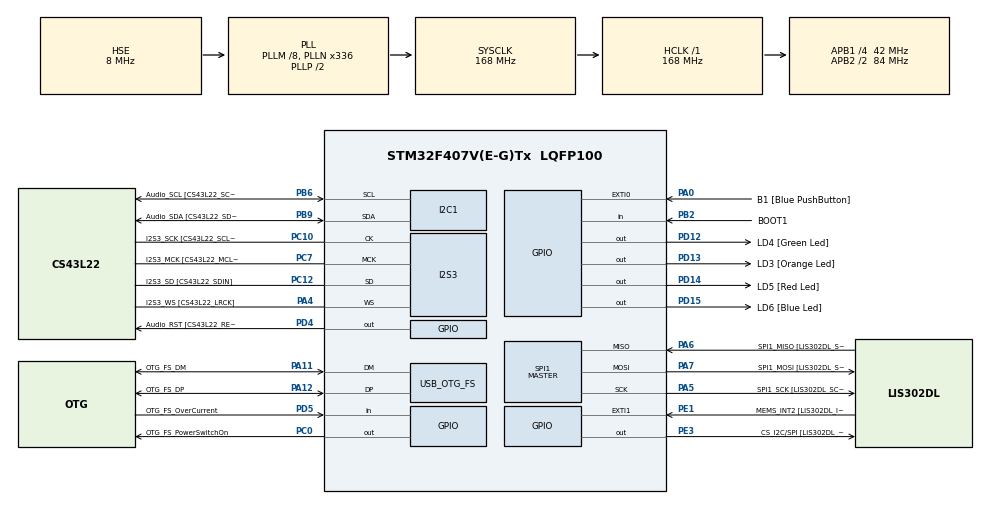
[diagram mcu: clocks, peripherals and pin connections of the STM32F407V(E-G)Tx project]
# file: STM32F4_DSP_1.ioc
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Dma.Request0=SPI3_TX
Dma.SPI3_TX.0.Direction=DMA_MEMORY_TO_PERIPH
Dma.SPI3_TX.0.FIFOMode=DMA_FIFOMODE_DISABLE
Dma.SPI3_TX.0.Instance=DMA1_Stream5
Dma.SPI3_TX.0.MemDataAlignment=DMA_MDATAALIGN_HALFWORD
Dma.SPI3_TX.0.MemInc=DMA_MINC_ENABLE
Dma.SPI3_TX.0.Mode=DMA_NORMAL
Dma.SPI3_TX.0.PeriphDataAlignment=DMA_PDATAALIGN_HALFWORD
Dma.SPI3_TX.0.PeriphInc=DMA_PINC_DISABLE
Dma.SPI3_TX.0.Priority=DMA_PRIORITY_HIGH
I2S3.AudioFreq-Half_Duplex_Master=I2S_AUDIOFREQ_96K
I2S3.ErrorAudioFreq=-2.34 %
I2S3.ErrorAudioFreq-Half_Duplex_Master=0.8 %
I2S3.FullDuplexMode=I2S_FULLDUPLEXMODE_DISABLE
I2S3.Instance=SPI$Index
I2S3.RealAudioFreq=93.75 KHz
I2S3.RealAudioFreq-Half_Duplex_Master=96.774 KHz
I2S3.VirtualMode=I2S_MODE_MASTER
Mcu.Family=STM32F4
Mcu.Name=STM32F407V(E-G)Tx
Mcu.Package=LQFP100
NVIC.DMA1_Stream5_IRQn=true\:0\:0\:false\:false\:true\:false\:true\:true
NVIC.OTG_FS_IRQn=true\:0\:0\:false\:false\:true\:true\:true\:true
NVIC.PriorityGroup=NVIC_PRIORITYGROUP_0
PA0-WKUP.GPIO_Label=B1 [Blue PushButton]
PA0-WKUP.GPIO_ModeDefaultEXTI=GPIO_MODE_EVT_RISING
PA0-WKUP.GPIO_PuPd=GPIO_NOPULL
PA0-WKUP.Signal=GPXTI0
PA10.GPIO_Label=OTG_FS_ID
PA10.GPIO_Mode=GPIO_MODE_AF_PP
PA10.GPIO_PuPd=GPIO_NOPULL
PA10.GPIO_Speed=GPIO_SPEED_FREQ_LOW
PA10.Signal=USB_OTG_FS_ID
PA11.GPIO_Label=OTG_FS_DM
PA11.GPIO_Mode=GPIO_MODE_AF_PP
PA11.GPIO_PuPd=GPIO_NOPULL
PA11.GPIO_Speed=GPIO_SPEED_FREQ_LOW
PA11.Mode=Device_Only
PA11.Signal=USB_OTG_FS_DM
PA12.GPIO_Label=OTG_FS_DP
PA12.GPIO_Mode=GPIO_MODE_AF_PP
PA12.GPIO_PuPd=GPIO_NOPULL
PA12.GPIO_Speed=GPIO_SPEED_FREQ_LOW
PA12.Mode=Device_Only
PA12.Signal=USB_OTG_FS_DP
PA13.GPIO_Label=SWDIO
PA13.Mode=Serial_Wire
PA13.Signal=SYS_JTMS-SWDIO
PA14.GPIO_Label=SWCLK
PA14.Mode=Serial_Wire
PA14.Signal=SYS_JTCK-SWCLK
PA4.GPIO_Label=I2S3_WS [CS43L22_LRCK]
PA4.GPIO_Mode=GPIO_MODE_AF_PP
PA4.GPIO_PuPd=GPIO_NOPULL
PA4.GPIO_Speed=GPIO_SPEED_FREQ_LOW
PA4.Mode=Half_Duplex_Master
PA4.Signal=I2S3_WS
PA5.GPIO_Label=SPI1_SCK [LIS302DL_SCL/SPC]
PA5.GPIO_Mode=GPIO_MODE_AF_PP
PA5.GPIO_PuPd=GPIO_NOPULL
PA5.GPIO_Speed=GPIO_SPEED_FREQ_LOW
PA5.Mode=Full_Duplex_Master
PA5.Signal=SPI1_SCK
PA6.GPIO_Label=SPI1_MISO [LIS302DL_SDO]
PA6.GPIO_Mode=GPIO_MODE_AF_PP
PA6.GPIO_PuPd=GPIO_NOPULL
PA6.GPIO_Speed=GPIO_SPEED_FREQ_LOW
PA6.Mode=Full_Duplex_Master
PA6.Signal=SPI1_MISO
PA7.GPIO_Label=SPI1_MOSI [LIS302DL_SDA/SDI/SDO]
PA7.GPIO_Mode=GPIO_MODE_AF_PP
PA7.GPIO_PuPd=GPIO_NOPULL
PA7.GPIO_Speed=GPIO_SPEED_FREQ_LOW
PA7.Mode=Full_Duplex_Master
PA7.Signal=SPI1_MOSI
PA9.GPIO_Label=VBUS_FS
PA9.GPIO_Mode=GPIO_MODE_INPUT
PA9.GPIO_PuPd=GPIO_NOPULL
PA9.Signal=USB_OTG_FS_VBUS
PB10.GPIO_Label=CLK_IN [MP45DT02_CLK]
PB10.GPIO_Mode=GPIO_MODE_AF_PP
PB10.GPIO_PuPd=GPIO_NOPULL
PB10.GPIO_Speed=GPIO_SPEED_FREQ_LOW
PB10.Signal=I2S2_CK
PB2.GPIO_Label=BOOT1
PB2.GPIO_Mode=GPIO_MODE_INPUT
PB2.GPIO_PuPd=GPIO_NOPULL
PB2.Signal=GPIO_Input
PB3.GPIO_Label=SWO
PB3.Signal=SYS_JTDO-SWO
PB6.GPIO_Label=Audio_SCL [CS43L22_SCL]
PB6.GPIO_Mode=GPIO_MODE_AF_OD
PB6.GPIO_Pu=GPIO_PULLUP
PB6.GPIO_PuPd=GPIO_NOPULL
PB6.GPIO_Speed=GPIO_SPEED_FREQ_LOW
PB6.Mode=I2C
PB6.Signal=I2C1_SCL
PB9.GPIO_Label=Audio_SDA [CS43L22_SDA]
PB9.GPIO_Mode=GPIO_MODE_AF_OD
PB9.GPIO_Pu=GPIO_PULLUP
PB9.GPIO_PuPd=GPIO_NOPULL
PB9.GPIO_Speed=GPIO_SPEED_FREQ_LOW
PB9.Mode=I2C
PB9.Signal=I2C1_SDA
PC0.GPIO_Label=OTG_FS_PowerSwitchOn
PC0.GPIO_PuPd=GPIO_NOPULL
PC0.GPIO_Speed=GPIO_SPEED_FREQ_LOW
PC0.PinState=GPIO_PIN_SET
PC0.Signal=GPIO_Output
PC10.GPIO_Label=I2S3_SCK [CS43L22_SCLK]
PC10.GPIO_Mode=GPIO_MODE_AF_PP
PC10.GPIO_PuPd=GPIO_NOPULL
PC10.GPIO_Speed=GPIO_SPEED_FREQ_LOW
PC10.Mode=Half_Duplex_Master
PC10.Signal=I2S3_CK
PC12.GPIO_Label=I2S3_SD [CS43L22_SDIN]
PC12.GPIO_Mode=GPIO_MODE_AF_PP
PC12.GPIO_PuPd=GPIO_NOPULL
PC12.GPIO_Speed=GPIO_SPEED_FREQ_LOW
PC12.Mode=Half_Duplex_Master
PC12.Signal=I2S3_SD
PC14-OSC32_IN.GPIO_Label=PC14-OSC32_IN
PC14-OSC32_IN.Mode=LSE-External-Oscillator
PC14-OSC32_IN.Signal=RCC_OSC32_IN
PC15-OSC32_OUT.GPIO_Label=PC15-OSC32_OUT
PC15-OSC32_OUT.Mode=LSE-External-Oscillator
PC15-OSC32_OUT.Signal=RCC_OSC32_OUT
PC3.GPIO_Label=PDM_OUT [MP45DT02_DOUT]
PC3.GPIO_Mode=GPIO_MODE_AF_PP
PC3.GPIO_PuPd=GPIO_NOPULL
PC3.GPIO_Speed=GPIO_SPEED_FREQ_LOW
PC3.Signal=I2S2_SD
PC7.GPIO_Label=I2S3_MCK [CS43L22_MCLK]
PC7.GPIO_Mode=GPIO_MODE_AF_PP
PC7.GPIO_PuPd=GPIO_NOPULL
PC7.GPIO_Speed=GPIO_SPEED_FREQ_LOW
PC7.Mode=Master_Clock_Activated
PC7.Signal=I2S3_MCK
PD12.GPIO_Label=LD4 [Green Led]
PD12.GPIO_PuPd=GPIO_NOPULL
PD12.GPIO_Speed=GPIO_SPEED_FREQ_LOW
PD12.Signal=GPIO_Output
PD13.GPIO_Label=LD3 [Orange Led]
PD13.GPIO_PuPd=GPIO_NOPULL
PD13.GPIO_Speed=GPIO_SPEED_FREQ_LOW
PD13.Signal=GPIO_Output
PD14.GPIO_Label=LD5 [Red Led]
PD14.GPIO_PuPd=GPIO_NOPULL
PD14.GPIO_Speed=GPIO_SPEED_FREQ_LOW
PD14.Signal=GPIO_Output
PD15.GPIO_Label=LD6 [Blue Led]
PD15.GPIO_PuPd=GPIO_NOPULL
PD15.GPIO_Speed=GPIO_SPEED_FREQ_LOW
PD15.Signal=GPIO_Output
PD4.GPIO_Label=Audio_RST [CS43L22_RESET]
PD4.GPIO_PuPd=GPIO_NOPULL
PD4.GPIO_Speed=GPIO_SPEED_FREQ_LOW
PD4.Signal=GPIO_Output
PD5.GPIO_Label=OTG_FS_OverCurrent
PD5.GPIO_Mode=GPIO_MODE_INPUT
PD5.GPIO_PuPd=GPIO_NOPULL
PD5.Signal=GPIO_Input
PE1.GPIO_Label=MEMS_INT2 [LIS302DL_INT2]
PE1.GPIO_ModeDefaultEXTI=GPIO_MODE_EVT_RISING
PE1.GPIO_PuPd=GPIO_NOPULL
PE1.Signal=GPXTI1
PE3.GPIO_Label=CS_I2C/SPI [LIS302DL_CS_I2C/SPI]
PE3.GPIO_PuPd=GPIO_NOPULL
PE3.GPIO_Speed=GPIO_SPEED_FREQ_LOW
PE3.Signal=GPIO_Output
PH0-OSC_IN.GPIO_Label=PH0-OSC_IN
PH0-OSC_IN.Mode=HSE-External-Oscillator
PH0-OSC_IN.Signal=RCC_OSC_IN
PH1-OSC_OUT.GPIO_Label=PH1-OSC_OUT
PH1-OSC_OUT.Mode=HSE-External-Oscillator
PH1-OSC_OUT.Signal=RCC_OSC_OUT
ProjectManager.HeapSize=0x200
ProjectManager.StackSize=0x400
ProjectManager.TargetToolchain=STM32CubeIDE
RCC.48MHZClocksFreq_Value=48000000
RCC.AHBFreq_Value=168000000
RCC.APB1CLKDivider=RCC_HCLK_DIV4
RCC.APB1Freq_Value=42000000
RCC.APB1TimFreq_Value=84000000
RCC.APB2CLKDivider=RCC_HCLK_DIV2
RCC.APB2Freq_Value=84000000
RCC.APB2TimFreq_Value=168000000
RCC.CortexFreq_Value=168000000
RCC.HCLKFreq_Value=168000000
RCC.HSE_VALUE=8000000
RCC.HSI_VALUE=16000000
RCC.PLLM=8
RCC.PLLN=336
RCC.PLLQ=7
RCC.PLLSourceVirtual=RCC_PLLSOURCE_HSE
RCC.SYSCLKFreq_VALUE=168000000
RCC.SYSCLKSource=RCC_SYSCLKSOURCE_PLLCLK
RCC.VCOOutputFreq_Value=336000000
SPI1.BaudRatePrescaler-Full_Duplex_Master=SPI_BAUDRATEPRESCALER_2
SPI1.CalculateBaudRate-Full_Duplex_Master=42.0 MBits/s
SPI1.Direction=SPI_DIRECTION_2LINES
SPI1.Mode=SPI_MODE_MASTER
SPI1.Mode-Full_Duplex_Master=SPI_MODE_MASTER
SPI1.VirtualType=VM_MASTER
USB_DEVICE.CLASS_NAME_FS=CDC
USB_DEVICE.VirtualMode-CDC_FS=Cdc
USB_DEVICE.VirtualModeFS=Cdc_FS
USB_OTG_FS.VirtualMode=Device_Only
VP_USB_DEVICE_VS_USB_DEVICE_CDC_FS.Mode=CDC_FS
board=STM32F407G-DISC1

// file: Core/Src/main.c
/* USER CODE BEGIN Header */
/**
  ******************************************************************************
  * @file           : main.c
  * @brief          : Main program body
  ******************************************************************************
  * @attention
  *
  * Copyright (c) 2023 STMicroelectronics.
  * All rights reserved.
  *
  * This software is licensed under terms that can be found in the LICENSE file
  * in the root directory of this software component.
  * If no LICENSE file comes with this software, it is provided AS-IS.
  *
  ******************************************************************************
  */
/* USER CODE END Header */
#include "main.h"
#include "usb_device.h"

/* USER CODE BEGIN Includes */
#include "stm32f4_discovery_audio.h"
#include "arm_math.h"

/* USER CODE END Includes */

/* USER CODE BEGIN PD */
#define FREQ 1000				//Sine signal frequency
#define SAMPLING_FREQ 8000		//BSP_audio_out sampling frequency

#define SAMPLES_QTY 8			//Signal buffer for one channel

/* USER CODE END PD */

I2C_HandleTypeDef hi2c1;

I2S_HandleTypeDef hi2s3;
DMA_HandleTypeDef hdma_spi3_tx;

SPI_HandleTypeDef hspi1;

/* USER CODE BEGIN PV */
static int16_t OutputBuffer[SAMPLES_QTY*2];			//Buffer to BSP_AUDIO_OUT, left+right channels
static int16_t Left_out_buffer[SAMPLES_QTY];
static int16_t Right_out_buffer[SAMPLES_QTY];

/* USER CODE END PV */

void SystemClock_Config(void);
static void MX_GPIO_Init(void);
static void MX_DMA_Init(void);
static void MX_I2C1_Init(void);
static void MX_I2S3_Init(void);
static void MX_SPI1_Init(void);

int main(void)
{

  /* MCU Configuration--------------------------------------------------------*/

  /* Reset of all peripherals, Initializes the Flash interface and the Systick. */
  HAL_Init();

  /* Configure the system clock */
  SystemClock_Config();

  /* Initialize all configured peripherals */
  MX_GPIO_Init();
  MX_DMA_Init();
  MX_I2C1_Init();
  MX_I2S3_Init();
  MX_SPI1_Init();
  MX_USB_DEVICE_Init();
  /* USER CODE BEGIN 2 */

  /*** Initialize the Audio codec and all related peripherals (I2S, I2C, IOExpander, IOs...) ***/
        if(BSP_AUDIO_OUT_Init(OUTPUT_DEVICE_AUTO, 80, SAMPLING_FREQ) != AUDIO_OK)
        {
        	Error_Handler();
        }

  /*** Test Signal generation ***/ // ORG
  /*
       for(int index = 0; index < SAMPLES_QTY; index++)
       {
       	  Left_out_buffer[index] = (int16_t)(30000*sin(2*PI*index/SAMPLES_QTY));
       	  Right_out_buffer[index] = (int16_t)(30000*sin(4*2*PI*index/SAMPLES_QTY));
       }

  */
/*-------------------------------------------------------------------------------------------------------------*/
/* TASK1 sine

             for(int index = 0; index < SAMPLES_QTY; index++)
             {
            	 double phase = 2*PI*FREQ*index/(2*SAMPLING_FREQ);

             	 // Left_out_buffer[index] = (int16_t)(30000*sin(phase));	//For faster testing main freq/2
            	 Right_out_buffer[index] = (int16_t)(30000*sin(2*phase));
             }

//TASK 1 DONE*/
/* =============================================================================================================*/
/*-------------------------------------------------------------------------------------------------------------*/
//TASK2 squere
  int16_t Square_Wave[SAMPLES_QTY];

  for (int index =0; index<SAMPLES_QTY/2; index++)
  {
	  Square_Wave[index]=20000;
	  Square_Wave[(index + (SAMPLES_QTY/2))] = -20000;
  }

/* =============================================================================================================*/
  /*** Fill Output Buffer ***/
       for(int i = 0; i < SAMPLES_QTY; i++)
       {
       	  OutputBuffer[i<<1] = Square_Wave[i];
       	  OutputBuffer[(i<<1)+1] = Square_Wave[i];
       }

  /*** Start Audio play ***/
       BSP_AUDIO_OUT_Play((uint16_t*)&OutputBuffer[0], SAMPLES_QTY*2);

  //Test - application is running
       HAL_GPIO_WritePin(LD4_GPIO_Port, LD4_Pin, GPIO_PIN_SET);

  /* USER CODE END 2 */

  /* Infinite loop */
  /* USER CODE BEGIN WHILE */
  while (1)
  {

	  HAL_GPIO_TogglePin(LD4_GPIO_Port, LD4_Pin);
	  HAL_Delay(500);

    /* USER CODE END WHILE */

  }
}

void SystemClock_Config(void)
{
  RCC_OscInitTypeDef RCC_OscInitStruct = {0};
  RCC_ClkInitTypeDef RCC_ClkInitStruct = {0};

  /** Configure the main internal regulator output voltage
  */
  __HAL_RCC_PWR_CLK_ENABLE();
  __HAL_PWR_VOLTAGESCALING_CONFIG(PWR_REGULATOR_VOLTAGE_SCALE1);

  /** Initializes the RCC Oscillators according to the specified parameters
  * in the RCC_OscInitTypeDef structure.
  */
  RCC_OscInitStruct.OscillatorType = RCC_OSCILLATORTYPE_HSE;
  RCC_OscInitStruct.HSEState = RCC_HSE_ON;
  RCC_OscInitStruct.PLL.PLLState = RCC_PLL_ON;
  RCC_OscInitStruct.PLL.PLLSource = RCC_PLLSOURCE_HSE;
  RCC_OscInitStruct.PLL.PLLM = 8;
  RCC_OscInitStruct.PLL.PLLN = 336;
  RCC_OscInitStruct.PLL.PLLP = RCC_PLLP_DIV2;
  RCC_OscInitStruct.PLL.PLLQ = 7;
  if (HAL_RCC_OscConfig(&RCC_OscInitStruct) != HAL_OK)
  {
    Error_Handler();
  }

  /** Initializes the CPU, AHB and APB buses clocks
  */
  RCC_ClkInitStruct.ClockType = RCC_CLOCKTYPE_HCLK|RCC_CLOCKTYPE_SYSCLK
                              |RCC_CLOCKTYPE_PCLK1|RCC_CLOCKTYPE_PCLK2;
  RCC_ClkInitStruct.SYSCLKSource = RCC_SYSCLKSOURCE_PLLCLK;
  RCC_ClkInitStruct.AHBCLKDivider = RCC_SYSCLK_DIV1;
  RCC_ClkInitStruct.APB1CLKDivider = RCC_HCLK_DIV4;
  RCC_ClkInitStruct.APB2CLKDivider = RCC_HCLK_DIV2;

  if (HAL_RCC_ClockConfig(&RCC_ClkInitStruct, FLASH_LATENCY_5) != HAL_OK)
  {
    Error_Handler();
  }
}

static void MX_I2C1_Init(void)
{

  hi2c1.Instance = I2C1;
  hi2c1.Init.ClockSpeed = 100000;
  hi2c1.Init.DutyCycle = I2C_DUTYCYCLE_2;
  hi2c1.Init.OwnAddress1 = 0;
  hi2c1.Init.AddressingMode = I2C_ADDRESSINGMODE_7BIT;
  hi2c1.Init.DualAddressMode = I2C_DUALADDRESS_DISABLE;
  hi2c1.Init.OwnAddress2 = 0;
  hi2c1.Init.GeneralCallMode = I2C_GENERALCALL_DISABLE;
  hi2c1.Init.NoStretchMode = I2C_NOSTRETCH_DISABLE;
  if (HAL_I2C_Init(&hi2c1) != HAL_OK)
  {
    Error_Handler();
  }

}

static void MX_I2S3_Init(void)
{

  hi2s3.Instance = SPI3;
  hi2s3.Init.Mode = I2S_MODE_MASTER_TX;
  hi2s3.Init.Standard = I2S_STANDARD_PHILIPS;
  hi2s3.Init.DataFormat = I2S_DATAFORMAT_16B;
  hi2s3.Init.MCLKOutput = I2S_MCLKOUTPUT_ENABLE;
  hi2s3.Init.AudioFreq = I2S_AUDIOFREQ_96K;
  hi2s3.Init.CPOL = I2S_CPOL_LOW;
  hi2s3.Init.ClockSource = I2S_CLOCK_PLL;
  hi2s3.Init.FullDuplexMode = I2S_FULLDUPLEXMODE_DISABLE;
  if (HAL_I2S_Init(&hi2s3) != HAL_OK)
  {
    Error_Handler();
  }

}

static void MX_SPI1_Init(void)
{

  /* SPI1 parameter configuration*/
  hspi1.Instance = SPI1;
  hspi1.Init.Mode = SPI_MODE_MASTER;
  hspi1.Init.Direction = SPI_DIRECTION_2LINES;
  hspi1.Init.DataSize = SPI_DATASIZE_8BIT;
  hspi1.Init.CLKPolarity = SPI_POLARITY_LOW;
  hspi1.Init.CLKPhase = SPI_PHASE_1EDGE;
  hspi1.Init.NSS = SPI_NSS_SOFT;
  hspi1.Init.BaudRatePrescaler = SPI_BAUDRATEPRESCALER_2;
  hspi1.Init.FirstBit = SPI_FIRSTBIT_MSB;
  hspi1.Init.TIMode = SPI_TIMODE_DISABLE;
  hspi1.Init.CRCCalculation = SPI_CRCCALCULATION_DISABLE;
  hspi1.Init.CRCPolynomial = 10;
  if (HAL_SPI_Init(&hspi1) != HAL_OK)
  {
    Error_Handler();
  }

}

static void MX_DMA_Init(void)
{

  /* DMA controller clock enable */
  __HAL_RCC_DMA1_CLK_ENABLE();

  /* DMA interrupt init */
  /* DMA1_Stream5_IRQn interrupt configuration */
  HAL_NVIC_SetPriority(DMA1_Stream5_IRQn, 0, 0);
  HAL_NVIC_EnableIRQ(DMA1_Stream5_IRQn);

}

static void MX_GPIO_Init(void)
{
  GPIO_InitTypeDef GPIO_InitStruct = {0};

  /* GPIO Ports Clock Enable */
  __HAL_RCC_GPIOE_CLK_ENABLE();
  __HAL_RCC_GPIOC_CLK_ENABLE();
  __HAL_RCC_GPIOH_CLK_ENABLE();
  __HAL_RCC_GPIOA_CLK_ENABLE();
  __HAL_RCC_GPIOB_CLK_ENABLE();
  __HAL_RCC_GPIOD_CLK_ENABLE();

  /*Configure GPIO pin Output Level */
  HAL_GPIO_WritePin(CS_I2C_SPI_GPIO_Port, CS_I2C_SPI_Pin, GPIO_PIN_RESET);

  /*Configure GPIO pin Output Level */
  HAL_GPIO_WritePin(OTG_FS_PowerSwitchOn_GPIO_Port, OTG_FS_PowerSwitchOn_Pin, GPIO_PIN_SET);

  /*Configure GPIO pin Output Level */
  HAL_GPIO_WritePin(GPIOD, LD4_Pin|LD3_Pin|LD5_Pin|LD6_Pin
                          |Audio_RST_Pin, GPIO_PIN_RESET);

  /*Configure GPIO pin : CS_I2C_SPI_Pin */
  GPIO_InitStruct.Pin = CS_I2C_SPI_Pin;
  GPIO_InitStruct.Mode = GPIO_MODE_OUTPUT_PP;
  GPIO_InitStruct.Pull = GPIO_NOPULL;
  GPIO_InitStruct.Speed = GPIO_SPEED_FREQ_LOW;
  HAL_GPIO_Init(CS_I2C_SPI_GPIO_Port, &GPIO_InitStruct);

  /*Configure GPIO pin : OTG_FS_PowerSwitchOn_Pin */
  GPIO_InitStruct.Pin = OTG_FS_PowerSwitchOn_Pin;
  GPIO_InitStruct.Mode = GPIO_MODE_OUTPUT_PP;
  GPIO_InitStruct.Pull = GPIO_NOPULL;
  GPIO_InitStruct.Speed = GPIO_SPEED_FREQ_LOW;
  HAL_GPIO_Init(OTG_FS_PowerSwitchOn_GPIO_Port, &GPIO_InitStruct);

  /*Configure GPIO pin : PDM_OUT_Pin */
  GPIO_InitStruct.Pin = PDM_OUT_Pin;
  GPIO_InitStruct.Mode = GPIO_MODE_AF_PP;
  GPIO_InitStruct.Pull = GPIO_NOPULL;
  GPIO_InitStruct.Speed = GPIO_SPEED_FREQ_LOW;
  GPIO_InitStruct.Alternate = GPIO_AF5_SPI2;
  HAL_GPIO_Init(PDM_OUT_GPIO_Port, &GPIO_InitStruct);

  /*Configure GPIO pin : B1_Pin */
  GPIO_InitStruct.Pin = B1_Pin;
  GPIO_InitStruct.Mode = GPIO_MODE_EVT_RISING;
  GPIO_InitStruct.Pull = GPIO_NOPULL;
  HAL_GPIO_Init(B1_GPIO_Port, &GPIO_InitStruct);

  /*Configure GPIO pin : BOOT1_Pin */
  GPIO_InitStruct.Pin = BOOT1_Pin;
  GPIO_InitStruct.Mode = GPIO_MODE_INPUT;
  GPIO_InitStruct.Pull = GPIO_NOPULL;
  HAL_GPIO_Init(BOOT1_GPIO_Port, &GPIO_InitStruct);

  /*Configure GPIO pin : CLK_IN_Pin */
  GPIO_InitStruct.Pin = CLK_IN_Pin;
  GPIO_InitStruct.Mode = GPIO_MODE_AF_PP;
  GPIO_InitStruct.Pull = GPIO_NOPULL;
  GPIO_InitStruct.Speed = GPIO_SPEED_FREQ_LOW;
  GPIO_InitStruct.Alternate = GPIO_AF5_SPI2;
  HAL_GPIO_Init(CLK_IN_GPIO_Port, &GPIO_InitStruct);

  /*Configure GPIO pins : LD4_Pin LD3_Pin LD5_Pin LD6_Pin
                           Audio_RST_Pin */
  GPIO_InitStruct.Pin = LD4_Pin|LD3_Pin|LD5_Pin|LD6_Pin
                          |Audio_RST_Pin;
  GPIO_InitStruct.Mode = GPIO_MODE_OUTPUT_PP;
  GPIO_InitStruct.Pull = GPIO_NOPULL;
  GPIO_InitStruct.Speed = GPIO_SPEED_FREQ_LOW;
  HAL_GPIO_Init(GPIOD, &GPIO_InitStruct);

  /*Configure GPIO pin : OTG_FS_OverCurrent_Pin */
  GPIO_InitStruct.Pin = OTG_FS_OverCurrent_Pin;
  GPIO_InitStruct.Mode = GPIO_MODE_INPUT;
  GPIO_InitStruct.Pull = GPIO_NOPULL;
  HAL_GPIO_Init(OTG_FS_OverCurrent_GPIO_Port, &GPIO_InitStruct);

  /*Configure GPIO pin : MEMS_INT2_Pin */
  GPIO_InitStruct.Pin = MEMS_INT2_Pin;
  GPIO_InitStruct.Mode = GPIO_MODE_EVT_RISING;
  GPIO_InitStruct.Pull = GPIO_NOPULL;
  HAL_GPIO_Init(MEMS_INT2_GPIO_Port, &GPIO_InitStruct);

}

/* USER CODE BEGIN 4 */

/*** Back to Buffer beginning ***/
	void BSP_AUDIO_OUT_TransferComplete_CallBack(void)
	{
		BSP_AUDIO_OUT_ChangeBuffer((uint16_t*)&OutputBuffer[0], SAMPLES_QTY*2);
		HAL_GPIO_TogglePin(LD3_GPIO_Port, LD3_Pin);
	}

/* USER CODE END 4 */

void Error_Handler(void)
{
  /* USER CODE BEGIN Error_Handler_Debug */
  /* User can add his own implementation to report the HAL error return state */
	HAL_GPIO_WritePin(LD5_GPIO_Port, LD5_Pin, GPIO_PIN_SET);

  __disable_irq();
  while (1)
  {
  }
  /* USER CODE END Error_Handler_Debug */
}
